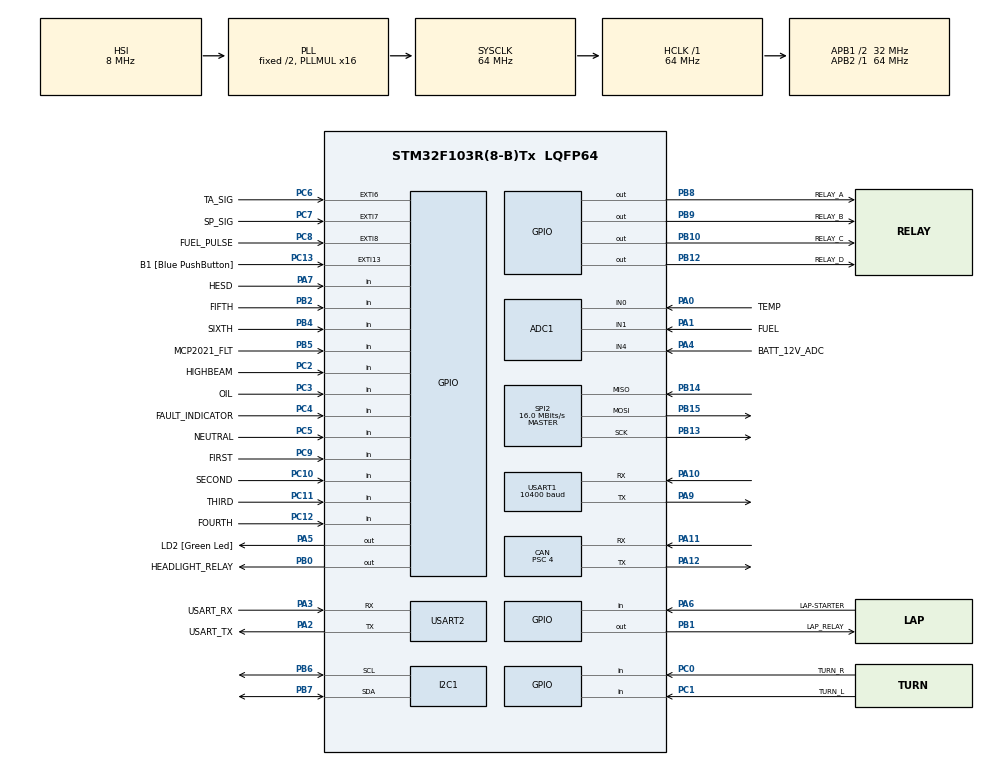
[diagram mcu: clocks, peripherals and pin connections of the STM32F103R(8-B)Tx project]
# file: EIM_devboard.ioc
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ADC1.Channel-0\#ChannelRegularConversion=ADC_CHANNEL_0
ADC1.NbrOfConversionFlag=1
ADC1.Rank-0\#ChannelRegularConversion=1
ADC1.SamplingTime-0\#ChannelRegularConversion=ADC_SAMPLETIME_1CYCLE_5
ADC1.master=1
CAN.BS1=CAN_BS1_13TQ
CAN.BS2=CAN_BS2_2TQ
CAN.CalculateBaudRate=500000
CAN.CalculateTimeBit=2000
CAN.CalculateTimeQuantum=125.0
CAN.Prescaler=4
Mcu.Family=STM32F1
Mcu.Name=STM32F103R(8-B)Tx
Mcu.Package=LQFP64
NVIC.EXTI15_10_IRQn=true\:0\:0\:false\:false\:true\:true\:true\:true
NVIC.EXTI9_5_IRQn=true\:0\:0\:false\:false\:true\:true\:true\:true
NVIC.PriorityGroup=NVIC_PRIORITYGROUP_4
PA0-WKUP.GPIO_Label=TEMP
PA0-WKUP.Signal=ADCx_IN0
PA1.GPIO_Label=FUEL
PA1.Signal=ADCx_IN1
PA10.GPIO_PuPd=GPIO_PULLUP
PA10.Mode=Asynchronous
PA10.Signal=USART1_RX
PA11.Mode=CAN_Activate
PA11.Signal=CAN_RX
PA12.Mode=CAN_Activate
PA12.Signal=CAN_TX
PA13.GPIO_Label=TMS
PA13.Mode=Serial_Wire
PA13.Signal=SYS_JTMS-SWDIO
PA14.GPIO_Label=TCK
PA14.Mode=Serial_Wire
PA14.Signal=SYS_JTCK-SWCLK
PA2.GPIO_Label=USART_TX
PA2.GPIO_Mode=GPIO_MODE_AF_PP
PA2.GPIO_PuPd=GPIO_NOPULL
PA2.GPIO_Speed=GPIO_SPEED_FREQ_LOW
PA2.Mode=Asynchronous
PA2.Signal=USART2_TX
PA3.GPIO_Label=USART_RX
PA3.GPIO_Mode=GPIO_MODE_AF_PP
PA3.GPIO_PuPd=GPIO_NOPULL
PA3.GPIO_Speed=GPIO_SPEED_FREQ_LOW
PA3.Mode=Asynchronous
PA3.Signal=USART2_RX
PA4.GPIO_Label=BATT_12V_ADC
PA4.Signal=ADCx_IN4
PA5.GPIO_Label=LD2 [Green Led]
PA5.GPIO_ModeDefaultOutputPP=GPIO_MODE_OUTPUT_PP
PA5.GPIO_PuPd=GPIO_NOPULL
PA5.GPIO_Speed=GPIO_SPEED_FREQ_LOW
PA5.Signal=GPIO_Output
PA6.GPIO_Label=LAP-STARTER
PA6.GPIO_PuPd=GPIO_PULLDOWN
PA6.Signal=GPIO_Input
PA7.GPIO_Label=HESD
PA7.GPIO_PuPd=GPIO_PULLDOWN
PA7.Signal=GPIO_Input
PA9.Mode=Asynchronous
PA9.Signal=USART1_TX
PB0.GPIO_Label=HEADLIGHT_RELAY
PB0.Signal=GPIO_Output
PB1.GPIO_Label=LAP_RELAY
PB1.Signal=GPIO_Output
PB10.GPIO_Label=RELAY_C
PB10.Signal=GPIO_Output
PB12.GPIO_Label=RELAY_D
PB12.Signal=GPIO_Output
PB13.Mode=Full_Duplex_Master
PB13.Signal=SPI2_SCK
PB14.Mode=Full_Duplex_Master
PB14.Signal=SPI2_MISO
PB15.Mode=Full_Duplex_Master
PB15.Signal=SPI2_MOSI
PB2.GPIO_Label=FIFTH
PB2.GPIO_PuPd=GPIO_PULLUP
PB2.Signal=GPIO_Input
PB3.GPIO_Label=SWO
PB3.Signal=SYS_JTDO-TRACESWO
PB4.GPIO_Label=SIXTH
PB4.GPIO_PuPd=GPIO_PULLUP
PB4.Signal=GPIO_Input
PB5.GPIO_Label=MCP2021_FLT
PB5.GPIO_PuPd=GPIO_PULLUP
PB5.Signal=GPIO_Input
PB6.Mode=I2C
PB6.Signal=I2C1_SCL
PB7.Mode=I2C
PB7.Signal=I2C1_SDA
PB8.GPIO_Label=RELAY_A
PB8.Signal=GPIO_Output
PB9.GPIO_Label=RELAY_B
PB9.Signal=GPIO_Output
PC0.GPIO_Label=TURN_R
PC0.GPIO_PuPd=GPIO_PULLDOWN
PC0.Signal=GPIO_Input
PC1.GPIO_Label=TURN_L
PC1.GPIO_PuPd=GPIO_PULLDOWN
PC1.Signal=GPIO_Input
PC10.GPIO_Label=SECOND
PC10.GPIO_PuPd=GPIO_PULLUP
PC10.Signal=GPIO_Input
PC11.GPIO_Label=THIRD
PC11.GPIO_PuPd=GPIO_PULLUP
PC11.Signal=GPIO_Input
PC12.GPIO_Label=FOURTH
PC12.GPIO_PuPd=GPIO_PULLUP
PC12.Signal=GPIO_Input
PC13-TAMPER-RTC.GPIO_Label=B1 [Blue PushButton]
PC13-TAMPER-RTC.GPIO_PuPd=GPIO_NOPULL
PC13-TAMPER-RTC.Signal=GPXTI13
PC14-OSC32_IN.Mode=LSE-External-Oscillator
PC14-OSC32_IN.Signal=RCC_OSC32_IN
PC15-OSC32_OUT.Mode=LSE-External-Oscillator
PC15-OSC32_OUT.Signal=RCC_OSC32_OUT
PC2.GPIO_Label=HIGHBEAM
PC2.GPIO_PuPd=GPIO_PULLDOWN
PC2.Signal=GPIO_Input
PC3.GPIO_Label=OIL
PC3.GPIO_PuPd=GPIO_PULLDOWN
PC3.Signal=GPIO_Input
PC4.GPIO_Label=FAULT_INDICATOR
PC4.GPIO_PuPd=GPIO_PULLDOWN
PC4.Signal=GPIO_Input
PC5.GPIO_Label=NEUTRAL
PC5.GPIO_PuPd=GPIO_PULLUP
PC5.Signal=GPIO_Input
PC6.GPIO_Label=TA_SIG
PC6.GPIO_ModeDefaultEXTI=GPIO_MODE_IT_RISING
PC6.GPIO_PuPd=GPIO_PULLDOWN
PC6.Signal=GPXTI6
PC7.GPIO_Label=SP_SIG
PC7.GPIO_ModeDefaultEXTI=GPIO_MODE_IT_RISING
PC7.GPIO_PuPd=GPIO_PULLDOWN
PC7.Signal=GPXTI7
PC8.GPIO_Label=FUEL_PULSE
PC8.Signal=GPXTI8
PC9.GPIO_Label=FIRST
PC9.GPIO_PuPd=GPIO_PULLUP
PC9.Signal=GPIO_Input
PD0-OSC_IN.Mode=HSE-External-Clock-Source
PD0-OSC_IN.Signal=RCC_OSC_IN
PD1-OSC_OUT.Mode=HSE-External-Clock-Source
PD1-OSC_OUT.Signal=RCC_OSC_OUT
ProjectManager.HeapSize=0x200
ProjectManager.StackSize=0x400
ProjectManager.TargetToolchain=CMake
RCC.ADCPresc=RCC_ADCPCLK2_DIV8
RCC.AHBFreq_Value=64000000
RCC.APB1CLKDivider=RCC_HCLK_DIV2
RCC.APB1Freq_Value=32000000
RCC.APB1TimFreq_Value=64000000
RCC.APB2Freq_Value=64000000
RCC.APB2TimFreq_Value=64000000
RCC.HCLKFreq_Value=64000000
RCC.PLLMUL=RCC_PLL_MUL16
RCC.RTCClockSelection=RCC_RTCCLKSOURCE_LSE
RCC.SYSCLKFreq_VALUE=64000000
RCC.SYSCLKSource=RCC_SYSCLKSOURCE_PLLCLK
RCC.USBFreq_Value=64000000
SH.ADCx_IN0.0=ADC1_IN0,IN0
SH.ADCx_IN1.0=ADC1_IN1,IN1
SH.ADCx_IN4.0=ADC1_IN4,IN4
SPI2.CalculateBaudRate=16.0 MBits/s
SPI2.Direction=SPI_DIRECTION_2LINES
SPI2.Mode=SPI_MODE_MASTER
SPI2.VirtualType=VM_MASTER
USART1.BaudRate=10400
USART1.VirtualMode=VM_ASYNC
USART2.VirtualMode=VM_ASYNC
board=NUCLEO-F103RB

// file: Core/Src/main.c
/* USER CODE BEGIN Header */
/**
  ******************************************************************************
  * @file           : main.c
  * @brief          : Main program body
  ******************************************************************************
  * @attention
  *
  * Copyright (c) 2024 STMicroelectronics.
  * All rights reserved.
  *
  * This software is licensed under terms that can be found in the LICENSE file
  * in the root directory of this software component.
  * If no LICENSE file comes with this software, it is provided AS-IS.
  *
  ******************************************************************************
  */
/* USER CODE END Header */
#include "main.h"
#include "adc.h"
#include "can.h"
#include "i2c.h"
#include "spi.h"
#include "usart.h"
#include "gpio.h"

/* USER CODE BEGIN Includes */
#include "eim.h"
#include "bluecan.h"
#include "kline.h"
/* USER CODE END Includes */

/* USER CODE BEGIN PV */

uint8_t gear;
/* USER CODE END PV */

void SystemClock_Config(void);

/* USER CODE BEGIN 0 */
void ECUWakeup() {
  sendECUWakeupPulse();
  pingECU();
  requestECUState();
}
/* USER CODE END 0 */

int main(void)
{

  /* MCU Configuration--------------------------------------------------------*/

  /* Reset of all peripherals, Initializes the Flash interface and the Systick. */
  HAL_Init();

  /* Configure the system clock */
  SystemClock_Config();

  /* Initialize all configured peripherals */
  MX_GPIO_Init();
  MX_USART2_UART_Init();
  MX_CAN_Init();
  MX_USART1_UART_Init();
  MX_ADC1_Init();
  MX_I2C1_Init();
  MX_SPI2_Init();
  /* USER CODE BEGIN 2 */
  startCAN();
  ECUWakeup();
  /* USER CODE END 2 */

  /* Infinite loop */
  /* USER CODE BEGIN WHILE */
  while (1)
  {
    HAL_GPIO_TogglePin (LD2_GPIO_Port, LD2_Pin);
    gear = checkGear();
    sendCAN_engine_gear(gear);
    printf("loop\n");
    HAL_Delay (1000);

    /* USER CODE END WHILE */

  }
}

void SystemClock_Config(void)
{
  RCC_OscInitTypeDef RCC_OscInitStruct = {0};
  RCC_ClkInitTypeDef RCC_ClkInitStruct = {0};
  RCC_PeriphCLKInitTypeDef PeriphClkInit = {0};

  /** Initializes the RCC Oscillators according to the specified parameters
  * in the RCC_OscInitTypeDef structure.
  */
  RCC_OscInitStruct.OscillatorType = RCC_OSCILLATORTYPE_HSI;
  RCC_OscInitStruct.HSIState = RCC_HSI_ON;
  RCC_OscInitStruct.HSICalibrationValue = RCC_HSICALIBRATION_DEFAULT;
  RCC_OscInitStruct.PLL.PLLState = RCC_PLL_ON;
  RCC_OscInitStruct.PLL.PLLSource = RCC_PLLSOURCE_HSI_DIV2;
  RCC_OscInitStruct.PLL.PLLMUL = RCC_PLL_MUL16;
  if (HAL_RCC_OscConfig(&RCC_OscInitStruct) != HAL_OK)
  {
    Error_Handler();
  }

  /** Initializes the CPU, AHB and APB buses clocks
  */
  RCC_ClkInitStruct.ClockType = RCC_CLOCKTYPE_HCLK|RCC_CLOCKTYPE_SYSCLK
                              |RCC_CLOCKTYPE_PCLK1|RCC_CLOCKTYPE_PCLK2;
  RCC_ClkInitStruct.SYSCLKSource = RCC_SYSCLKSOURCE_PLLCLK;
  RCC_ClkInitStruct.AHBCLKDivider = RCC_SYSCLK_DIV1;
  RCC_ClkInitStruct.APB1CLKDivider = RCC_HCLK_DIV2;
  RCC_ClkInitStruct.APB2CLKDivider = RCC_HCLK_DIV1;

  if (HAL_RCC_ClockConfig(&RCC_ClkInitStruct, FLASH_LATENCY_2) != HAL_OK)
  {
    Error_Handler();
  }
  PeriphClkInit.PeriphClockSelection = RCC_PERIPHCLK_ADC;
  PeriphClkInit.AdcClockSelection = RCC_ADCPCLK2_DIV8;
  if (HAL_RCCEx_PeriphCLKConfig(&PeriphClkInit) != HAL_OK)
  {
    Error_Handler();
  }
}

void Error_Handler(void)
{
  __disable_irq();
  while (1)
  {
  }
}
